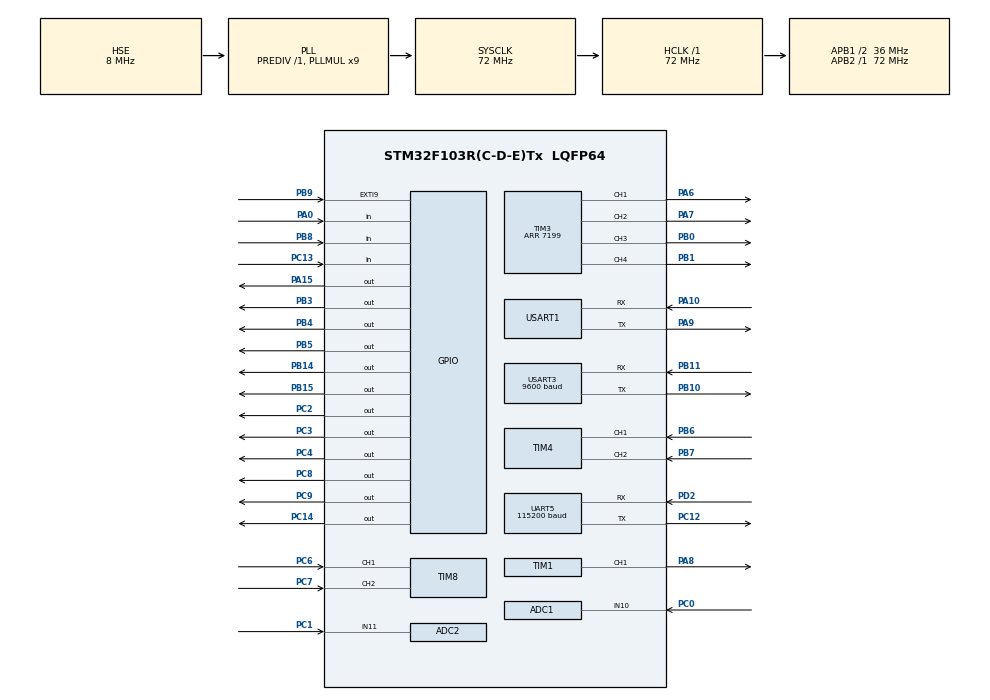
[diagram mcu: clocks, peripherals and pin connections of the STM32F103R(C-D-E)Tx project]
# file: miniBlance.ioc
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ADC1.Channel-3\#ChannelRegularConversion=ADC_CHANNEL_10
ADC1.NbrOfConversionFlag=1
ADC1.Rank-3\#ChannelRegularConversion=1
ADC1.SamplingTime-3\#ChannelRegularConversion=ADC_SAMPLETIME_1CYCLE_5
ADC1.master=1
ADC2.Channel-1\#ChannelRegularConversion=ADC_CHANNEL_11
ADC2.EnableInjectedConversion=DISABLE
ADC2.NbrOfConversionFlag=1
ADC2.Rank-1\#ChannelRegularConversion=1
ADC2.SamplingTime-1\#ChannelRegularConversion=ADC_SAMPLETIME_1CYCLE_5
Mcu.Family=STM32F1
Mcu.Name=STM32F103R(C-D-E)Tx
Mcu.Package=LQFP64
NVIC.ADC1_2_IRQn=true\:2\:1\:true\:false\:true\:true\:true
NVIC.EXTI9_5_IRQn=true\:2\:1\:true\:false\:true\:true\:true
NVIC.PriorityGroup=NVIC_PRIORITYGROUP_2
NVIC.TIM4_IRQn=true\:1\:3\:true\:false\:true\:true\:true
NVIC.TIM5_IRQn=true\:0\:0\:true\:false\:true\:true\:true
NVIC.TIM8_UP_IRQn=true\:1\:3\:true\:false\:true\:true\:true
NVIC.UART5_IRQn=true\:1\:1\:true\:false\:true\:true\:true
NVIC.USART1_IRQn=true\:1\:1\:true\:false\:true\:true\:true
NVIC.USART3_IRQn=true\:1\:1\:true\:false\:true\:true\:true
PA0-WKUP.Signal=GPIO_Input
PA10.Mode=Asynchronous
PA10.Signal=USART1_RX
PA13.Mode=Serial_Wire
PA13.Signal=SYS_JTMS-SWDIO
PA14.Mode=Serial_Wire
PA14.Signal=SYS_JTCK-SWCLK
PA15.Signal=GPIO_Output
PA6.GPIO_Speed=GPIO_SPEED_FREQ_HIGH
PA6.Signal=S_TIM3_CH1
PA7.GPIO_Speed=GPIO_SPEED_FREQ_HIGH
PA7.Signal=S_TIM3_CH2
PA8.GPIO_Speed=GPIO_SPEED_FREQ_HIGH
PA8.Signal=S_TIM1_CH1
PA9.Mode=Asynchronous
PA9.Signal=USART1_TX
PB0.GPIO_Speed=GPIO_SPEED_FREQ_HIGH
PB0.Signal=S_TIM3_CH3
PB1.GPIO_Speed=GPIO_SPEED_FREQ_HIGH
PB1.Signal=S_TIM3_CH4
PB10.Mode=Asynchronous
PB10.Signal=USART3_TX
PB11.Mode=Asynchronous
PB11.Signal=USART3_RX
PB14.Signal=GPIO_Output
PB15.Signal=GPIO_Output
PB3.PinState=GPIO_PIN_SET
PB3.Signal=GPIO_Output
PB4.PinState=GPIO_PIN_SET
PB4.Signal=GPIO_Output
PB5.PinState=GPIO_PIN_SET
PB5.Signal=GPIO_Output
PB6.Signal=S_TIM4_CH1
PB7.Signal=S_TIM4_CH2
PB8.GPIO_PuPd=GPIO_PULLUP
PB8.Signal=GPIO_Input
PB9.GPIO_ModeDefaultEXTI=GPIO_MODE_IT_FALLING
PB9.GPIO_PuPd=GPIO_PULLUP
PB9.Signal=GPXTI9
PC0.Signal=ADCx_IN10
PC1.Signal=ADCx_IN11
PC12.Mode=Asynchronous
PC12.Signal=UART5_TX
PC13-TAMPER-RTC.GPIO_Mode=GPIO_MODE_INPUT
PC13-TAMPER-RTC.GPIO_PuPd=GPIO_NOPULL
PC13-TAMPER-RTC.Signal=GPIO_Input
PC14-OSC32_IN.PinState=GPIO_PIN_SET
PC14-OSC32_IN.Signal=GPIO_Output
PC2.Signal=GPIO_Output
PC3.Signal=GPIO_Output
PC4.PinState=GPIO_PIN_SET
PC4.Signal=GPIO_Output
PC6.Signal=S_TIM8_CH1
PC7.Signal=S_TIM8_CH2
PC8.PinState=GPIO_PIN_SET
PC8.Signal=GPIO_Output
PC9.PinState=GPIO_PIN_SET
PC9.Signal=GPIO_Output
PD0-OSC_IN.Mode=HSE-External-Oscillator
PD0-OSC_IN.Signal=RCC_OSC_IN
PD1-OSC_OUT.Mode=HSE-External-Oscillator
PD1-OSC_OUT.Signal=RCC_OSC_OUT
PD2.Mode=Asynchronous
PD2.Signal=UART5_RX
ProjectManager.HeapSize=0x200
ProjectManager.StackSize=0x400
ProjectManager.TargetToolchain=MDK-ARM V5.32
RCC.ADCPresc=RCC_ADCPCLK2_DIV8
RCC.AHBFreq_Value=72000000
RCC.APB1CLKDivider=RCC_HCLK_DIV2
RCC.APB1Freq_Value=36000000
RCC.APB1TimFreq_Value=72000000
RCC.APB2Freq_Value=72000000
RCC.APB2TimFreq_Value=72000000
RCC.HCLKFreq_Value=72000000
RCC.PLLMUL=RCC_PLL_MUL9
RCC.PLLSourceVirtual=RCC_PLLSOURCE_HSE
RCC.SYSCLKFreq_VALUE=72000000
RCC.SYSCLKSource=RCC_SYSCLKSOURCE_PLLCLK
RCC.USBFreq_Value=72000000
SH.ADCx_IN10.0=ADC1_IN10,IN10
SH.ADCx_IN11.0=ADC2_IN11,IN11
SH.S_TIM1_CH1.0=TIM1_CH1,PWM Generation1 CH1
SH.S_TIM3_CH1.0=TIM3_CH1,PWM Generation1 CH1
SH.S_TIM3_CH2.0=TIM3_CH2,PWM Generation2 CH2
SH.S_TIM3_CH3.0=TIM3_CH3,PWM Generation3 CH3
SH.S_TIM3_CH4.0=TIM3_CH4,PWM Generation4 CH4
SH.S_TIM4_CH1.0=TIM4_CH1,Encoder_Interface
SH.S_TIM4_CH2.0=TIM4_CH2,Encoder_Interface
SH.S_TIM8_CH1.0=TIM8_CH1,Encoder_Interface
SH.S_TIM8_CH2.0=TIM8_CH2,Encoder_Interface
TIM1.AutoReloadPreload=TIM_AUTORELOAD_PRELOAD_ENABLE
TIM1.Channel-PWM\ Generation1\ CH1=TIM_CHANNEL_1
TIM1.Period=9999
TIM1.Prescaler=71
TIM3.AutoReloadPreload=TIM_AUTORELOAD_PRELOAD_ENABLE
TIM3.Channel-PWM\ Generation1\ CH1=TIM_CHANNEL_1
TIM3.Channel-PWM\ Generation2\ CH2=TIM_CHANNEL_2
TIM3.Channel-PWM\ Generation3\ CH3=TIM_CHANNEL_3
TIM3.Channel-PWM\ Generation4\ CH4=TIM_CHANNEL_4
TIM3.Period=7199
TIM4.AutoReloadPreload=TIM_AUTORELOAD_PRELOAD_ENABLE
TIM4.EncoderMode=TIM_ENCODERMODE_TI12
TIM4.IC1Filter=10
TIM4.IC2Filter=10
TIM5.AutoReloadPreload=TIM_AUTORELOAD_PRELOAD_ENABLE
TIM5.Period=7199
TIM5.Prescaler=49
TIM8.AutoReloadPreload=TIM_AUTORELOAD_PRELOAD_ENABLE
TIM8.EncoderMode=TIM_ENCODERMODE_TI12
TIM8.IC1Filter=10
TIM8.IC2Filter=10
UART5.BaudRate=115200
UART5.VirtualMode=Asynchronous
USART1.VirtualMode=VM_ASYNC
USART3.BaudRate=9600
USART3.VirtualMode=VM_ASYNC
VP_TIM5_VS_ClockSourceINT.Mode=Internal
board=custom

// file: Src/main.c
/* USER CODE BEGIN Header */
/**
  ******************************************************************************
  * @file           : main.c
  * @brief          : Main program body
  ******************************************************************************
  * @attention
  *
  * <h2><center>&copy; Copyright (c) 2022 STMicroelectronics.
  * All rights reserved.</center></h2>
  *
  * This software component is licensed by ST under BSD 3-Clause license,
  * the "License"; You may not use this file except in compliance with the
  * License. You may obtain a copy of the License at:
  *                        opensource.org/licenses/BSD-3-Clause
  *
  ******************************************************************************
  */
/* USER CODE END Header */
#include "main.h"
#include "adc.h"
#include "tim.h"
#include "usart.h"
#include "gpio.h"

/* USER CODE BEGIN Includes */
#include "Header.h"
/* USER CODE END Includes */

/* USER CODE BEGIN PM */
volatile u8 delay_50,delay_flag; 		//延时变量
u16 Voltage;							//电压变量，放大100倍储存
u16 Get_Voltage;
u8 Flag_Stop;							//电机启停标志位
u8 PS2_ON_Flag = 0,APP_ON_Flag = 0,ROS_ON_Flag = 0,Remote_ON_Flag = 0;		//默认所有方式不控制
u8 Car_Num;								//车型号码选择
u8 Flag_Show = 1;						//显示标志位，默认开启，长按切换到上位机模式，此时关闭
float Perimeter; 						//轮子的周长
float Wheelspacing; 					//轮子的轮距
u8 one_lap_data_success_flag=0;         //雷达数据完成一圈的接收标志位
int lap_count=0;//当前雷达这一圈数据有多少个点
int PointDataProcess_count=0,test_once_flag=0,Dividing_point=0;//雷达接收数据点的计算值、接收到一圈数据最后一帧数据的标志位、需要切割数据的数据数
/* USER CODE END PM */

void SystemClock_Config(void);

int main(void)
{
  /* USER CODE BEGIN 1 */
  u32 Voltage_Sum = 0;
	u8 Voltage_Count = 0;				//电压计算相关变量
  /* USER CODE END 1 */

  /* MCU Configuration--------------------------------------------------------*/

  /* Reset of all peripherals, Initializes the Flash interface and the Systick. */
  HAL_Init();

  /* Configure the system clock */
  SystemClock_Config();

  /* Initialize all configured peripherals */
  MX_GPIO_Init();
  MX_ADC1_Init();
  MX_ADC2_Init();
  MX_TIM3_Init();
  MX_TIM4_Init();
  MX_TIM8_Init();
  MX_UART5_Init();
  MX_USART1_UART_Init();
  MX_USART3_UART_Init();
  /* USER CODE BEGIN 2 */
	OLED_Init();
	PWM_Cap_Init(65535,72-1);//用于测量超声波的距离，默认注释，具体看capture.h
  MPU6050_Init();           //MPU6050初始化
    // PS2_SetInit();                //Lab11-12: disable PS2 mode
    // Robot_Select();               //Lab11-12: fixed Ackermann chassis
	Car_Num = Akm_Car;							//Lab11-12: fixed chassis type
	BEEP_ON();													//按键按下蜂鸣器提示
	delay_ms(300);
	BEEP_OFF();
	if(Car_Num == Akm_Car)
		  MX_TIM1_Init();									//阿克曼车型初始化舵机
	Car_Perimeter_Init();										//初始化轮子周长和轮距
	Mode = Smart_Cruise_Mode;						//reset后自动进入雷达实验模式
	Smart_Cruise_Reset();
    MX_TIM5_Init();								//5ms中断控制，大部分控制逻辑在里面
  /* USER CODE END 2 */

  /* Infinite loop */
  while (1)
  {
	  // Robot_Select();							//Lab11-12: mode/chassis selection disabled
		if(Flag_Show)											//正常显示，非上位机模式
		{
			LED2_OFF;
			// PS2_Read();							//Lab11-12: PS2 input disabled

			Show();												//显示屏
			APP_Show();											//手机蓝牙显示

			Voltage_Sum += Get_Voltage;						//电压测量，每50次取一次平均
			if((++Voltage_Count) == 50)
				Voltage = Voltage_Sum/50,Voltage_Count = 0,Voltage_Sum = 0;
		}
		else													//进入上位机模式
		{
			LED2_ON;											//LED2常亮指示进入了上位机模式
			DataScope();										//上位机示波器显示
		}
		delay_flag=1;
		delay_50=0;
		while(delay_flag);	     								//通过定时中断实现的50ms延时，主要用于示波
//    /* USER CODE BEGIN 3 */
  }
  /* USER CODE END 3 */
}

void SystemClock_Config(void)
{
  RCC_OscInitTypeDef RCC_OscInitStruct = {0};
  RCC_ClkInitTypeDef RCC_ClkInitStruct = {0};
  RCC_PeriphCLKInitTypeDef PeriphClkInit = {0};

  /** Initializes the RCC Oscillators according to the specified parameters
  * in the RCC_OscInitTypeDef structure.
  */
  RCC_OscInitStruct.OscillatorType = RCC_OSCILLATORTYPE_HSE;
  RCC_OscInitStruct.HSEState = RCC_HSE_ON;
  RCC_OscInitStruct.HSEPredivValue = RCC_HSE_PREDIV_DIV1;
  RCC_OscInitStruct.HSIState = RCC_HSI_ON;
  RCC_OscInitStruct.PLL.PLLState = RCC_PLL_ON;
  RCC_OscInitStruct.PLL.PLLSource = RCC_PLLSOURCE_HSE;
  RCC_OscInitStruct.PLL.PLLMUL = RCC_PLL_MUL9;
  if (HAL_RCC_OscConfig(&RCC_OscInitStruct) != HAL_OK)
  {
    Error_Handler();
  }
  /** Initializes the CPU, AHB and APB buses clocks
  */
  RCC_ClkInitStruct.ClockType = RCC_CLOCKTYPE_HCLK|RCC_CLOCKTYPE_SYSCLK
                              |RCC_CLOCKTYPE_PCLK1|RCC_CLOCKTYPE_PCLK2;
  RCC_ClkInitStruct.SYSCLKSource = RCC_SYSCLKSOURCE_PLLCLK;
  RCC_ClkInitStruct.AHBCLKDivider = RCC_SYSCLK_DIV1;
  RCC_ClkInitStruct.APB1CLKDivider = RCC_HCLK_DIV2;
  RCC_ClkInitStruct.APB2CLKDivider = RCC_HCLK_DIV1;

  if (HAL_RCC_ClockConfig(&RCC_ClkInitStruct, FLASH_LATENCY_2) != HAL_OK)
  {
    Error_Handler();
  }
  PeriphClkInit.PeriphClockSelection = RCC_PERIPHCLK_ADC;
  PeriphClkInit.AdcClockSelection = RCC_ADCPCLK2_DIV8;
  if (HAL_RCCEx_PeriphCLKConfig(&PeriphClkInit) != HAL_OK)
  {
    Error_Handler();
  }
}

void Error_Handler(void)
{
  __disable_irq();
  while (1)
  {
  }
}

/************************ (C) COPYRIGHT STMicroelectronics *****END OF FILE****/
